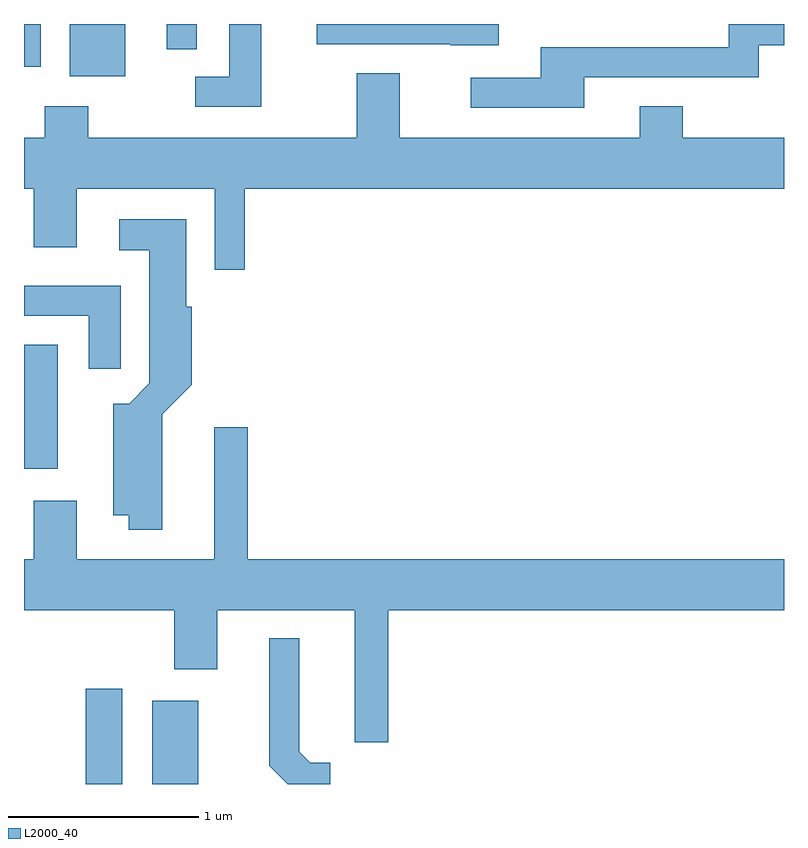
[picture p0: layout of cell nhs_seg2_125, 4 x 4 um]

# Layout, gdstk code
import gdstk
lib = gdstk.Library(unit=1e-6, precision=1e-09)
def R(c, l, rs):  # rectangles x0, y0, x1, y1
    for r in rs: c.add(gdstk.rectangle(r[:2], r[2:], *l))
def P(c, l, *ps):  # polygons
    for p in ps: c.add(gdstk.Polygon(p, *l))
L2000_40 = (2000, 40)

nhs_seg2_125 = lib.new_cell('nhs_seg2_125')
R(nhs_seg2_125, L2000_40, [(187.936,1091.802,188.129,1092.304), (188.286,1091.802,188.529,1092.239), (187.611,1093.461,187.789,1094.114), (187.851,1095.526,188.144,1095.802), (187.611,1095.576,187.699,1095.802), (188.361,1095.668,188.519,1095.802)])
P(nhs_seg2_125, L2000_40, [(188.859,1095.802),(188.691,1095.802),(188.691,1095.524),(188.513,1095.524),(188.513,1095.366),(188.859,1095.366)],
  [(190.559,1095.521),(191.479,1095.521),(191.479,1095.691),(191.611,1095.691),(191.611,1095.802),(191.321,1095.802),(191.321,1095.679),(190.331,1095.679),(190.331,1095.519),(189.963,1095.519),(189.963,1095.361),(190.559,1095.361)],
  [(190.109,1095.802),(189.151,1095.802),(189.151,1095.696),(189.855,1095.696),(189.855,1095.691),(190.109,1095.691)],
  [(188.774,1094.936),(191.611,1094.936),(191.611,1095.204),(191.079,1095.204),(191.079,1095.369),(190.851,1095.369),(190.851,1095.204),(189.589,1095.204),(189.589,1095.544),(189.361,1095.544),(189.361,1095.204),(187.949,1095.204),(187.949,1095.369),(187.721,1095.369),(187.721,1095.204),(187.611,1095.204),(187.611,1094.936),(187.661,1094.936),(187.661,1094.626),(187.889,1094.626),(187.889,1094.936),(188.616,1094.936),(188.616,1094.508),(188.774,1094.508)],
  [(188.339,1093.749),(188.494,1093.904),(188.494,1094.314),(188.464,1094.314),(188.464,1094.774),(188.113,1094.774),(188.113,1094.611),(188.271,1094.611),(188.271,1093.912),(188.164,1093.804),(188.081,1093.804),(188.081,1093.216),(188.161,1093.216),(188.161,1093.141),(188.339,1093.141)],
  [(188.119,1094.424),(187.611,1094.424),(187.611,1094.266),(187.951,1094.266),(187.951,1093.988),(188.119,1093.988)],
  [(189.529,1092.716),(191.611,1092.716),(191.611,1092.984),(188.789,1092.984),(188.789,1093.679),(188.611,1093.679),(188.611,1092.984),(187.889,1092.984),(187.889,1093.294),(187.661,1093.294),(187.661,1092.984),(187.611,1092.984),(187.611,1092.716),(188.401,1092.716),(188.401,1092.406),(188.629,1092.406),(188.629,1092.716),(189.351,1092.716),(189.351,1092.021),(189.529,1092.021)],
  [(189.224,1091.914),(189.117,1091.914),(189.059,1091.972),(189.059,1092.568),(188.901,1092.568),(188.901,1091.899),(188.998,1091.802),(189.224,1091.802)])

lib.write_gds('nhs_seg2_125.gds')
